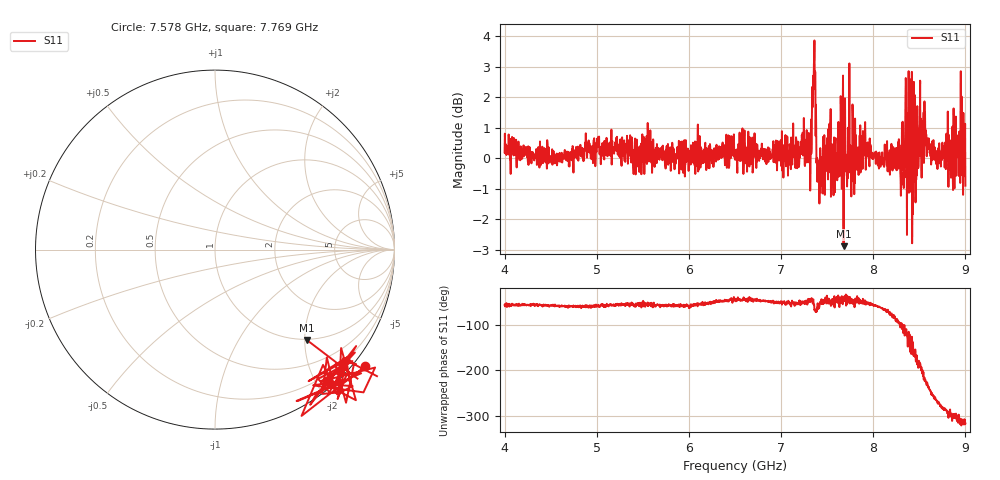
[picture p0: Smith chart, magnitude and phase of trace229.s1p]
! Created with skrf 1.8.0 (http://scikit-rf.org).
# Hz S RI R 50.0
!freq ReS11 ImS11
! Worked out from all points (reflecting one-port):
!   1601 points, 4 GHz to 9 GHz, reference 50 ohm
!   lowest |S11| = -2.9 dB at 7.678 GHz (marker M1), VSWR 6.09, Z = 49.2 - j102 ohm
!   phase of S11 starts at -57 deg and turns -259 deg over the sweep
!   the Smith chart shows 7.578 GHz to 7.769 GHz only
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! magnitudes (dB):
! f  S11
! 4 GHz  0.2
! 4.625 GHz  -0.1
! 5.25 GHz  0.0
! 5.875 GHz  0.2
! 6.5 GHz  0.3
! 7.125 GHz  0.5
! 7.306 GHz  0.5
! 7.356 GHz  3.1
! 7.409 GHz  -0.5
! 7.497 GHz  -0.4
! 7.512 GHz  1.0
! 7.591 GHz  0.7
! 7.669 GHz  1.5
! 7.678 GHz  -2.9
! 7.703 GHz  -0.4
! 7.75 GHz  0.4
! 7.769 GHz  -0.4
! 7.891 GHz  0.4
! 8.316 GHz  0.4
! 8.331 GHz  -1.0
! 8.375 GHz  -0.4
! 8.394 GHz  -0.3
! 8.412 GHz  0.2
! 8.522 GHz  0.4
! 8.7 GHz  0.1
! 8.841 GHz  0.5
! 8.972 GHz  0.7
! 9 GHz  -0.9
